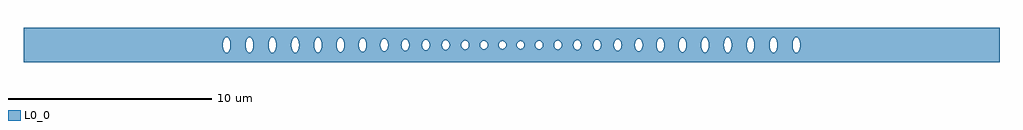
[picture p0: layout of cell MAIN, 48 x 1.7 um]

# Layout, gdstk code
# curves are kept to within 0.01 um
import gdstk
lib = gdstk.Library(unit=1e-6, precision=1e-09)
def P(c, l, *ps):  # polygons
    for p in ps: c.add(gdstk.Polygon(p, *l))
L0_0 = (0, 0)

main = lib.new_cell('MAIN')
P(main, L0_0, [(-14.042,-0.387),(-14.101,-0.345),(-14.154,-0.253),(-14.154,-0.85),(-14.042,-0.85)],
  [(-14.037,0.389),(-13.983,0.39),(-13.917,0.345),(-13.865,0.257),(-13.83,0.132),(-13.83,0.85),(-14.042,0.85)],
  [(-13.83,-0.132),(-13.865,-0.257),(-13.917,-0.345),(-13.983,-0.39),(-14.042,-0.387),(-14.042,-0.85),(-13.83,-0.85)],
  [(24,0.85),(14.154,0.85),(14.154,0.253),(14.198,0.039),(14.188,-0.132),(14.154,-0.253),(14.154,-0.85),(24,-0.85)],
  [(-12.974,0.347),(-12.908,0.391),(-12.843,0.384),(-12.788,0.339),(-12.738,0.248),(-12.738,0.85),(-12.979,0.85)],
  [(-12.738,-0.248),(-12.788,-0.339),(-12.843,-0.384),(-12.908,-0.391),(-12.979,-0.342),(-12.979,-0.85),(-12.738,-0.85)],
  [(-13.074,0.006),(-13.049,0.198),(-12.979,0.342),(-12.979,0.85),(-13.83,0.85),(-13.819,0)],
  [(-11.902,0.261),(-11.852,0.345),(-11.783,0.391),(-11.716,0.383),(-11.662,0.336),(-11.662,0.85),(-11.904,0.85)],
  [(-11.662,-0.336),(-11.716,-0.383),(-11.783,-0.391),(-11.852,-0.345),(-11.904,-0.257),(-11.904,-0.85),(-11.662,-0.85)],
  [(-11.95,0.006),(-11.942,0.116),(-11.904,0.257),(-11.904,0.85),(-12.738,0.85),(-12.738,0.248),(-12.704,0.121),(-12.695,0)],
  [(-10.812,0.147),(-10.776,0.264),(-10.725,0.345),(-10.66,0.387),(-10.596,0.381),(-10.596,0.85),(-10.813,0.85)],
  [(-10.596,-0.381),(-10.66,-0.387),(-10.725,-0.345),(-10.776,-0.264),(-10.813,-0.141),(-10.813,-0.85),(-10.596,-0.85)],
  [(-10.826,0.006),(-10.813,0.141),(-10.813,0.85),(-11.662,0.85),(-11.662,0.336),(-11.595,0.193),(-11.571,0)],
  [(-9.706,0.019),(-9.687,0.167),(-9.656,0.258),(-9.601,0.34),(-9.535,0.377),(-9.535,0.85),(-9.706,0.85)],
  [(-9.535,-0.377),(-9.601,-0.34),(-9.656,-0.258),(-9.687,-0.167),(-9.706,-0.014),(-9.706,-0.85),(-9.535,-0.85)],
  [(-9.53,0.378),(-9.472,0.369),(-9.407,0.31),(-9.364,0.226),(-9.332,0.087),(-9.332,0.85),(-9.535,0.85)],
  [(-9.332,-0.087),(-9.364,-0.226),(-9.407,-0.31),(-9.472,-0.369),(-9.535,-0.377),(-9.535,-0.85),(-9.332,-0.85)],
  [(-9.706,0.003),(-9.706,0.85),(-10.596,0.85),(-10.596,0.381),(-10.538,0.334),(-10.489,0.247),(-10.454,0.11),(-10.447,0)],
  [(-8.47,0.344),(-8.404,0.363),(-8.338,0.336),(-8.282,0.268),(-8.24,0.161),(-8.24,0.85),(-8.476,0.85)],
  [(-8.24,-0.161),(-8.282,-0.268),(-8.338,-0.336),(-8.404,-0.363),(-8.476,-0.34),(-8.476,-0.85),(-8.24,-0.85)],
  [(-8.599,0.005),(-8.564,0.212),(-8.525,0.288),(-8.476,0.34),(-8.476,0.85),(-9.332,0.85),(-9.327,0)],
  [(-7.416,0.298),(-7.35,0.339),(-7.279,0.334),(-7.208,0.275),(-7.166,0.196),(-7.166,0.85),(-7.421,0.85)],
  [(-7.166,-0.196),(-7.218,-0.287),(-7.284,-0.336),(-7.35,-0.339),(-7.421,-0.292),(-7.421,-0.85),(-7.166,-0.85)],
  [(-7.511,0.005),(-7.488,0.165),(-7.421,0.292),(-7.421,0.85),(-8.24,0.85),(-8.24,0.161),(-8.22,0)],
  [(-6.369,0.259),(-6.307,0.309),(-6.233,0.317),(-6.162,0.276),(-6.109,0.197),(-6.109,0.85),(-6.373,0.85)],
  [(-6.109,-0.197),(-6.162,-0.276),(-6.233,-0.317),(-6.307,-0.309),(-6.373,-0.253),(-6.373,-0.85),(-6.109,-0.85)],
  [(-6.447,0.005),(-6.427,0.146),(-6.373,0.253),(-6.373,0.85),(-7.166,0.85),(-7.166,0.196),(-7.132,0)],
  [(-5.333,0.239),(-5.271,0.285),(-5.188,0.291),(-5.119,0.249),(-5.066,0.168),(-5.066,0.85),(-5.338,0.85)],
  [(-5.066,-0.168),(-5.119,-0.249),(-5.188,-0.291),(-5.271,-0.285),(-5.338,-0.233),(-5.338,-0.85),(-5.066,-0.85)],
  [(-5.411,0.002),(-5.391,0.133),(-5.338,0.233),(-5.338,0.85),(-6.109,0.85),(-6.109,0.197),(-6.076,0.09),(-6.068,0)],
  [(-4.305,0.238),(-4.231,0.27),(-4.16,0.26),(-4.092,0.208),(-4.04,0.108),(-4.04,0.85),(-4.31,0.85)],
  [(-4.04,-0.108),(-4.092,-0.208),(-4.16,-0.26),(-4.237,-0.269),(-4.31,-0.233),(-4.31,-0.85),(-4.04,-0.85)],
  [(-4.403,0.002),(-4.38,0.131),(-4.31,0.233),(-4.31,0.85),(-5.066,0.85),(-5.066,0.168),(-5.032,0)],
  [(-3.276,0.242),(-3.205,0.245),(-3.127,0.204),(-3.07,0.123),(-3.046,0.018),(-3.046,0.85),(-3.283,0.85)],
  [(-3.046,-0.018),(-3.07,-0.123),(-3.127,-0.204),(-3.205,-0.245),(-3.283,-0.24),(-3.283,-0.85),(-3.046,-0.85)],
  [(-3.425,0.002),(-3.39,0.144),(-3.344,0.203),(-3.283,0.24),(-3.283,0.85),(-4.04,0.85),(-4.04,0.108),(-4.024,0)],
  [(-2.473,0.004),(-2.453,0.103),(-2.399,0.181),(-2.319,0.224),(-2.248,0.224),(-2.248,0.85),(-3.046,0.85),(-3.046,0)],
  [(-1.524,0.099),(-1.469,0.17),(-1.385,0.209),(-1.291,0.199),(-1.218,0.145),(-1.218,0.85),(-1.525,0.85)],
  [(-1.218,-0.145),(-1.291,-0.199),(-1.385,-0.209),(-1.469,-0.17),(-1.525,-0.095),(-1.525,-0.85),(-1.218,-0.85)],
  [(-1.546,0.004),(-1.525,0.095),(-1.525,0.85),(-2.248,0.85),(-2.248,0.224),(-2.183,0.193),(-2.135,0.142),(-2.102,0.067),(-2.094,0)],
  [(-0.514,0.188),(-0.429,0.2),(-0.338,0.164),(-0.279,0.092),(-0.258,0),(-0.258,0.85),(-0.521,0.85)],
  [(-0.258,0),(-0.279,-0.092),(-0.338,-0.164),(-0.429,-0.2),(-0.521,-0.185),(-0.521,-0.85),(-0.258,-0.85)],
  [(0.258,0.004),(0.279,0.092),(0.338,0.164),(0.429,0.2),(0.518,0.187),(0.518,0.85),(-0.258,0.85),(-0.258,0)],
  [(0.518,-0.187),(0.429,-0.2),(0.338,-0.164),(0.279,-0.092),(0.258,0),(-0.258,0),(-0.258,-0.85),(0.518,-0.85)],
  [(-0.637,0.004),(-0.605,0.113),(-0.521,0.185),(-0.521,0.85),(-1.218,0.85),(-1.218,0.145),(-1.179,0.076),(-1.167,0)],
  [(1.221,0.148),(1.291,0.199),(1.385,0.209),(1.469,0.17),(1.524,0.099),(1.524,0.85),(1.216,0.85)],
  [(1.524,-0.099),(1.46,-0.177),(1.371,-0.211),(1.284,-0.196),(1.216,-0.142),(1.216,-0.85),(1.524,-0.85)],
  [(1.167,0.004),(1.179,0.076),(1.216,0.142),(1.216,0.85),(0.518,0.85),(0.518,0.187),(0.605,0.113),(0.637,0)],
  [(2.094,0.004),(2.102,0.067),(2.135,0.142),(2.183,0.193),(2.245,0.223),(2.245,0.85),(1.524,0.85),(1.524,0.099),(1.546,0)],
  [(3.046,0.016),(3.071,0.125),(3.126,0.203),(3.2,0.244),(3.281,0.24),(3.281,0.85),(3.046,0.85)],
  [(3.281,-0.24),(3.2,-0.244),(3.126,-0.203),(3.071,-0.125),(3.046,-0.011),(3.046,-0.85),(3.281,-0.85)],
  [(3.046,0.002),(3.046,0.85),(2.245,0.85),(2.245,0.223),(2.319,0.224),(2.399,0.181),(2.453,0.103),(2.473,0)],
  [(4.041,0.11),(4.081,0.194),(4.149,0.255),(4.232,0.27),(4.309,0.234),(4.309,0.85),(4.039,0.85)],
  [(4.309,-0.234),(4.232,-0.27),(4.149,-0.255),(4.081,-0.194),(4.039,-0.106),(4.039,-0.85),(4.309,-0.85)],
  [(4.024,0.002),(4.039,0.106),(4.039,0.85),(3.281,0.85),(3.281,0.24),(3.343,0.204),(3.387,0.149),(3.425,0)],
  [(5.067,0.17),(5.12,0.25),(5.196,0.293),(5.267,0.287),(5.336,0.235),(5.336,0.85),(5.065,0.85)],
  [(5.336,-0.235),(5.267,-0.287),(5.196,-0.293),(5.12,-0.25),(5.065,-0.166),(5.065,-0.85),(5.336,-0.85)],
  [(5.032,0.002),(5.065,0.166),(5.065,0.85),(4.309,0.85),(4.309,0.234),(4.376,0.141),(4.403,0)],
  [(6.11,0.201),(6.162,0.276),(6.233,0.317),(6.307,0.309),(6.373,0.253),(6.373,0.85),(6.109,0.85)],
  [(6.373,-0.253),(6.307,-0.309),(6.233,-0.317),(6.162,-0.276),(6.109,-0.197),(6.109,-0.85),(6.373,-0.85)],
  [(6.068,0.005),(6.084,0.128),(6.109,0.197),(6.109,0.85),(5.336,0.85),(5.336,0.235),(5.393,0.127),(5.411,0)],
  [(7.168,0.201),(7.218,0.287),(7.284,0.336),(7.35,0.339),(7.421,0.292),(7.421,0.85),(7.166,0.85)],
  [(7.421,-0.292),(7.35,-0.339),(7.284,-0.336),(7.218,-0.287),(7.166,-0.196),(7.166,-0.85),(7.421,-0.85)],
  [(7.132,0.005),(7.166,0.196),(7.166,0.85),(6.373,0.85),(6.373,0.253),(6.427,0.146),(6.447,0)],
  [(8.241,0.166),(8.29,0.282),(8.346,0.342),(8.415,0.363),(8.476,0.34),(8.476,0.85),(8.24,0.85)],
  [(8.476,-0.34),(8.404,-0.363),(8.338,-0.336),(8.282,-0.268),(8.24,-0.161),(8.24,-0.85),(8.476,-0.85)],
  [(8.22,0.005),(8.24,0.161),(8.24,0.85),(7.421,0.85),(7.421,0.292),(7.488,0.165),(7.511,0)],
  [(9.332,0.085),(9.357,0.206),(9.395,0.292),(9.455,0.359),(9.531,0.378),(9.531,0.85),(9.331,0.85)],
  [(9.531,-0.378),(9.455,-0.359),(9.395,-0.292),(9.357,-0.206),(9.331,-0.079),(9.331,-0.85),(9.531,-0.85)],
  [(9.706,0.85),(9.531,0.85),(9.531,0.378),(9.6,0.341),(9.655,0.26),(9.691,0.15),(9.706,0.022)],
  [(9.706,-0.022),(9.691,-0.15),(9.655,-0.26),(9.6,-0.341),(9.531,-0.378),(9.531,-0.85),(9.706,-0.85)],
  [(9.327,0.003),(9.331,0.85),(8.476,0.85),(8.476,0.34),(8.525,0.288),(8.564,0.212),(8.599,0)],
  [(10.599,0.382),(10.66,0.387),(10.725,0.345),(10.776,0.264),(10.812,0.147),(10.812,0.85),(10.593,0.85)],
  [(10.812,-0.147),(10.776,-0.264),(10.725,-0.345),(10.66,-0.387),(10.593,-0.38),(10.593,-0.85),(10.812,-0.85)],
  [(10.447,0.006),(10.454,0.11),(10.489,0.247),(10.538,0.334),(10.593,0.38),(10.593,0.85),(9.706,0.85),(9.706,0)],
  [(11.664,0.339),(11.716,0.383),(11.783,0.391),(11.852,0.345),(11.902,0.261),(11.902,0.85),(11.66,0.85)],
  [(11.902,-0.261),(11.852,-0.345),(11.783,-0.391),(11.716,-0.383),(11.66,-0.333),(11.66,-0.85),(11.902,-0.85)],
  [(11.571,0.006),(11.595,0.193),(11.66,0.333),(11.66,0.85),(10.812,0.85),(10.812,0.147),(10.826,0)],
  [(12.738,0.248),(12.788,0.339),(12.843,0.384),(12.908,0.391),(12.976,0.345),(12.976,0.85),(12.736,0.85)],
  [(12.976,-0.345),(12.908,-0.391),(12.843,-0.384),(12.788,-0.339),(12.736,-0.244),(12.736,-0.85),(12.976,-0.85)],
  [(12.695,0.006),(12.704,0.121),(12.736,0.244),(12.736,0.85),(11.902,0.85),(11.902,0.261),(11.942,0.116),(11.95,0)],
  [(13.83,0.132),(13.865,0.257),(13.917,0.345),(13.983,0.39),(14.04,0.388),(14.04,0.85),(13.83,0.85)],
  [(14.04,-0.388),(13.983,-0.39),(13.917,-0.345),(13.865,-0.257),(13.83,-0.126),(13.83,-0.85),(14.04,-0.85)],
  [(-14.154,-0.253),(-14.198,-0.039),(-14.188,0.132),(-14.154,0.253),(-14.154,0.85),(-24,0.85),(-24,-0.85),(-14.154,-0.85)],
  [(-14.153,0.257),(-14.101,0.345),(-14.042,0.387),(-14.042,0.85),(-14.154,0.85)],
  [(14.154,0.85),(14.04,0.85),(14.04,0.388),(14.101,0.345),(14.154,0.253)],
  [(14.154,-0.253),(14.101,-0.345),(14.04,-0.388),(14.04,-0.85),(14.154,-0.85)],
  [(-12.979,-0.342),(-13.049,-0.198),(-13.074,0),(-13.819,0),(-13.83,-0.85),(-12.979,-0.85)],
  [(-11.904,-0.257),(-11.942,-0.116),(-11.95,0),(-12.695,0),(-12.704,-0.121),(-12.738,-0.248),(-12.738,-0.85),(-11.904,-0.85)],
  [(-10.813,-0.141),(-10.826,0),(-11.571,0),(-11.595,-0.193),(-11.662,-0.336),(-11.662,-0.85),(-10.813,-0.85)],
  [(-9.706,-0.014),(-9.706,0),(-10.447,0),(-10.454,-0.11),(-10.489,-0.247),(-10.538,-0.334),(-10.596,-0.381),(-10.596,-0.85),(-9.706,-0.85)],
  [(-8.476,-0.34),(-8.525,-0.288),(-8.564,-0.212),(-8.599,0),(-9.327,0),(-9.332,-0.85),(-8.476,-0.85)],
  [(-7.421,-0.292),(-7.488,-0.165),(-7.511,0),(-8.22,0),(-8.24,-0.161),(-8.24,-0.85),(-7.421,-0.85)],
  [(-6.373,-0.253),(-6.427,-0.146),(-6.447,0),(-7.132,0),(-7.166,-0.196),(-7.166,-0.85),(-6.373,-0.85)],
  [(-5.338,-0.233),(-5.391,-0.133),(-5.411,0),(-6.068,0),(-6.076,-0.09),(-6.109,-0.197),(-6.109,-0.85),(-5.338,-0.85)],
  [(-4.31,-0.233),(-4.38,-0.131),(-4.403,0),(-5.032,0),(-5.066,-0.168),(-5.066,-0.85),(-4.31,-0.85)],
  [(-3.283,-0.24),(-3.344,-0.203),(-3.39,-0.144),(-3.425,0),(-4.024,0),(-4.04,-0.108),(-4.04,-0.85),(-3.283,-0.85)],
  [(-2.248,-0.224),(-2.319,-0.224),(-2.399,-0.181),(-2.453,-0.103),(-2.473,0),(-3.046,0),(-3.046,-0.85),(-2.248,-0.85)],
  [(-1.525,-0.095),(-1.546,0),(-2.094,0),(-2.102,-0.067),(-2.135,-0.142),(-2.183,-0.193),(-2.248,-0.224),(-2.248,-0.85),(-1.525,-0.85)],
  [(-0.521,-0.185),(-0.605,-0.113),(-0.637,0),(-1.167,0),(-1.179,-0.076),(-1.218,-0.145),(-1.218,-0.85),(-0.521,-0.85)],
  [(1.216,-0.142),(1.179,-0.076),(1.167,0),(0.637,0),(0.605,-0.113),(0.518,-0.187),(0.518,-0.85),(1.216,-0.85)],
  [(2.245,-0.223),(2.183,-0.193),(2.135,-0.142),(2.102,-0.067),(2.094,0),(1.546,0),(1.524,-0.099),(1.524,-0.85),(2.245,-0.85)],
  [(3.046,-0.011),(3.046,0),(2.473,0),(2.453,-0.103),(2.399,-0.181),(2.319,-0.224),(2.245,-0.223),(2.245,-0.85),(3.046,-0.85)],
  [(4.039,-0.106),(4.024,0),(3.425,0),(3.387,-0.149),(3.343,-0.204),(3.281,-0.24),(3.281,-0.85),(4.039,-0.85)],
  [(5.065,-0.166),(5.032,0),(4.403,0),(4.376,-0.141),(4.309,-0.234),(4.309,-0.85),(5.065,-0.85)],
  [(6.109,-0.197),(6.076,-0.09),(6.068,0),(5.411,0),(5.393,-0.127),(5.336,-0.235),(5.336,-0.85),(6.109,-0.85)],
  [(7.166,-0.196),(7.132,0),(6.447,0),(6.427,-0.146),(6.373,-0.253),(6.373,-0.85),(7.166,-0.85)],
  [(8.24,-0.161),(8.22,0),(7.511,0),(7.488,-0.165),(7.421,-0.292),(7.421,-0.85),(8.24,-0.85)],
  [(9.331,-0.079),(9.327,0),(8.599,0),(8.564,-0.212),(8.525,-0.288),(8.476,-0.34),(8.476,-0.85),(9.331,-0.85)],
  [(10.593,-0.38),(10.531,-0.325),(10.484,-0.234),(10.454,-0.11),(10.447,0),(9.706,0),(9.706,-0.85),(10.593,-0.85)],
  [(11.66,-0.333),(11.595,-0.193),(11.571,0),(10.826,0),(10.812,-0.147),(10.812,-0.85),(11.66,-0.85)],
  [(12.736,-0.244),(12.704,-0.121),(12.695,0),(11.95,0),(11.942,-0.116),(11.902,-0.261),(11.902,-0.85),(12.736,-0.85)],
  [(13.83,-0.126),(13.819,0),(13.074,0),(13.049,-0.198),(12.976,-0.345),(12.976,-0.85),(13.83,-0.85)],
  [(13.819,0.006),(13.83,0.85),(12.976,0.85),(12.976,0.345),(13.049,0.198),(13.074,0)])

lib.write_gds('MAIN.gds')
